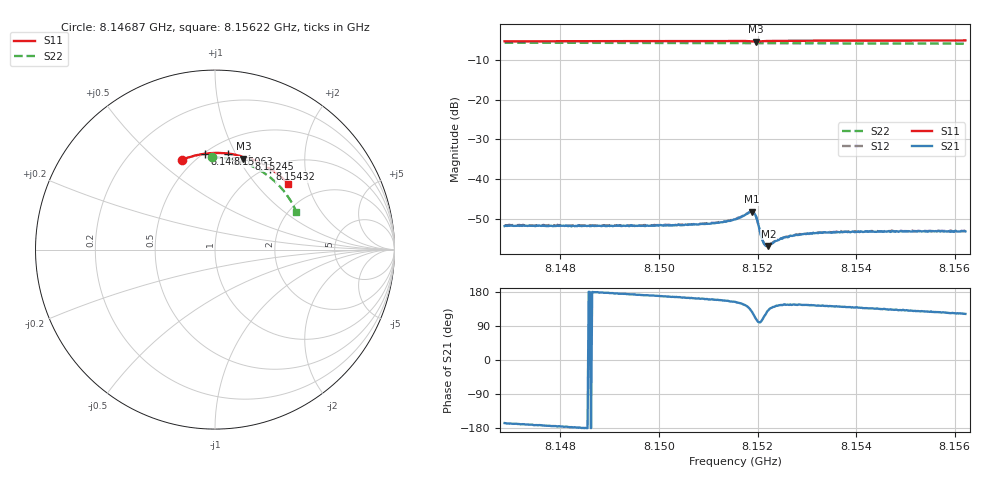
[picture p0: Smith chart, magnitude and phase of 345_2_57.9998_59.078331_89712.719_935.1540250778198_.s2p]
#  HZ  S  RI  R  50.00
! Rohde & Schwarz Vector Network Analyzer
! Rohde-Schwarz,ZNB20-2Port,1311601062101988,3.16
! Created: UTC 3/21/2024, 1:05:46 AM
! freq[Hz]  re:S11  im:S11  re:S21  im:S21  re:S12  im:S12  re:S22  im:S22
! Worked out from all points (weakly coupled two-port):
!   401 points, 8.14687 GHz to 8.15622 GHz, reference 50 ohm
!   highest |S21| = -48.05 dB at 8.15189 GHz (marker M1); lowest = -56.7 dB at 8.15222 GHz (marker M2)
!   lowest |S11| = -5.5 dB at 8.15196 GHz (marker M3), VSWR 3.26, Z = 37.2 + j52.5 ohm
!   |S11| at or under -10 dB: nowhere
!   |S22| runs from -6.0 to -5.8 dB; largest |S21 - S12| = 0.00012
!   S11 on the Smith chart (normalised r, x): 8.14687 GHz: 0.43, +0.60; 8.14876 GHz: 0.51, +0.76; 8.15063 GHz: 0.62, +0.93; 8.15245 GHz: 0.77, +1.11; 8.15432 GHz: 1.03, +1.32; 8.15622 GHz: 1.44, +1.51
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8.146866e9  -0.1858 0.5001  -0.00254 -0.000613  -0.00261 -0.000549  -0.0189 0.5132
8.148433e9  -0.0807 0.5303  -0.00261 -2.46e-05  -0.00266 3.35e-06  0.0831 0.5051
8.14876e9  -0.0582 0.5339  -0.00263 4.27e-05  -0.00265 0.000132  0.1039 0.5006
8.149999e9  0.028 0.5384  -0.0026 0.000502  -0.00263 0.000565  0.1803 0.4769
8.15063e9  0.0719 0.5352  -0.00261 0.000787  -0.00261 0.0008  0.2172 0.4602
8.151168e9  0.1094 0.5296  -0.00267 0.00105  -0.00265 0.0011  0.2475 0.4439
8.151542e9  0.1359 0.5233  -0.00284 0.00141  -0.00285 0.00148  0.2678 0.4311
8.151823e9  0.1561 0.5137  -0.00285 0.0026  -0.00283 0.00265  0.2825 0.421
8.151893e9  0.159 0.5089  -0.00232 0.00321  -0.00232 0.00326  0.2859 0.4181
8.15194e9  0.1589 0.5067  -0.0016 0.00337  -0.00156 0.00343  0.2882 0.4165
8.151963e9  0.1583 0.5062  -0.00117 0.00332  -0.00112 0.00334  0.2893 0.4156
8.152103e9  0.163 0.511  -0.000531 0.00164  -0.000474 0.00165  0.2965 0.4107
8.15215e9  0.1667 0.5116  -0.000713 0.00134  -0.000702 0.00136  0.2987 0.4089
8.152174e9  0.1686 0.5117  -0.000795 0.00124  -0.000785 0.00125  0.3001 0.408
8.15222e9  0.1724 0.5115  -0.000971 0.0011  -0.000981 0.00113  0.3024 0.4061
8.152454e9  0.1901 0.5076  -0.00147 0.00103  -0.00146 0.00104  0.3141 0.3968
8.152524e9  0.1951 0.506  -0.00154 0.00105  -0.00154 0.00109  0.3175 0.3938
8.152805e9  0.2139 0.4992  -0.00166 0.00115  -0.0017 0.00114  0.3309 0.3823
8.153109e9  0.2338 0.4909  -0.00171 0.00122  -0.00173 0.00123  0.3447 0.3689
8.154325e9  0.3077 0.4506  -0.00162 0.00153  -0.00163 0.00158  0.3948 0.3114
8.154675e9  0.3277 0.4368  -0.00154 0.00163  -0.00155 0.00164  0.4076 0.2935
8.156219e9  0.4073 0.3667  -0.00117 0.00191  -0.00118 0.00192  0.4535 0.2094
